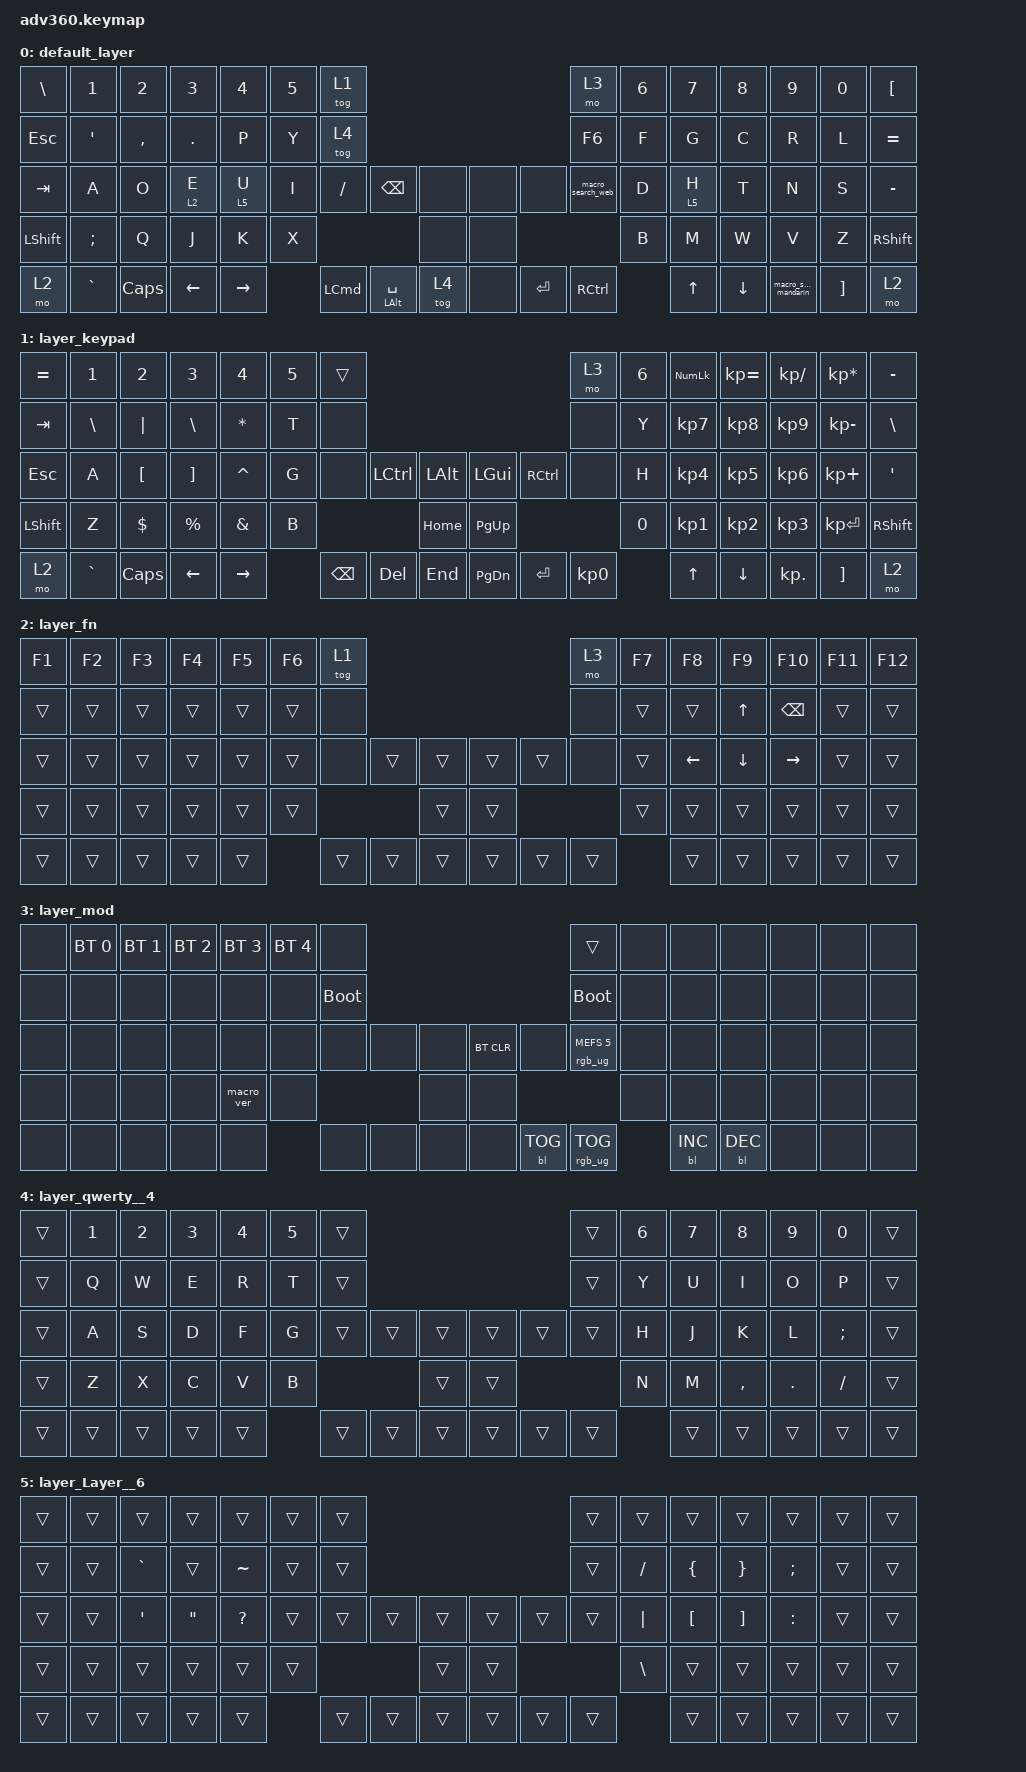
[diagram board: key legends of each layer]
/*
 * Copyright (c) 2020 The ZMK Contributors
 *
 * SPDX-License-Identifier: MIT
 */
/* THIS FILE WAS GENERATED!
 *
 * This file was generated automatically. You may or may not want to
 * edit it directly.
 */

#include <behaviors.dtsi>
#include <dt-bindings/zmk/backlight.h>
#include <dt-bindings/zmk/bt.h>
#include <dt-bindings/zmk/keys.h>
#include <dt-bindings/zmk/rgb.h>

/ {
    behaviors {
        #include "macros.dtsi"
    #include "version.dtsi"

        hm: homerow_mods {
            compatible = "zmk,behavior-hold-tap";
            label = "HOMEROW_MODS";
            #binding-cells = <2>;
            tapping-term-ms = <200>;
            quick_tap_ms = <175>;
            flavor = "tap-preferred";
            bindings = <&kp>, <&kp>;
        };
    };

    keymap {
        compatible = "zmk,keymap";

        default_layer {
            bindings = <
&kp BACKSLASH  &kp N1          &kp N2     &kp N3    &kp N4     &kp N5  &tog 1                                                              &mo 3              &kp N6  &kp N7   &kp N8    &kp N9                  &kp N0             &kp LEFT_BRACKET
&kp ESC        &kp APOSTROPHE  &kp COMMA  &kp DOT   &kp P      &kp Y   &tog 4                                                              &kp F6             &kp F   &kp G    &kp C     &kp R                   &kp L              &kp EQUAL
&kp TAB        &kp A           &kp O      &lt 2 E   &lt 5 U    &kp I   &kp SLASH         &kp BACKSPACE       &none       &none  &none      &macro_search_web  &kp D   &lt 5 H  &kp T     &kp N                   &kp S              &kp MINUS
&kp LSHFT      &kp SEMICOLON   &kp Q      &kp J     &kp K      &kp X                                         &none       &none                                &kp B   &kp M    &kp W     &kp V                   &kp Z              &kp RSHFT
&mo 2          &kp GRAVE       &kp CAPS   &kp LEFT  &kp RIGHT          &kp LEFT_COMMAND  &mt LEFT_ALT SPACE  &tog 4      &none  &kp ENTER  &kp RCTRL                  &kp UP   &kp DOWN  &macro_switch_mandarin  &kp RIGHT_BRACKET  &mo 2
            >;
        };

        layer_keypad {
            bindings = <
&kp EQUAL  &kp N1         &kp N2            &kp N3             &kp N4         &kp N5  &trans                                                   &mo 3      &kp N6  &kp KP_NUM  &kp KP_EQUAL  &kp KP_DIVIDE  &kp KP_MULTIPLY  &kp MINUS
&kp TAB    &kp BACKSLASH  &kp PIPE          &kp BACKSLASH      &kp STAR       &kp T   &none                                                    &none      &kp Y   &kp KP_N7   &kp KP_N8     &kp KP_N9      &kp KP_MINUS     &kp BSLH
&kp ESC    &kp A          &kp LEFT_BRACKET  &kp RIGHT_BRACKET  &kp CARET      &kp G   &none     &kp LCTRL  &kp LALT      &kp LGUI   &kp RCTRL  &none      &kp H   &kp KP_N4   &kp KP_N5     &kp KP_N6      &kp KP_PLUS      &kp SQT
&kp LSHFT  &kp Z          &kp DOLLAR        &kp PERCENT        &kp AMPERSAND  &kp B                        &kp HOME      &kp PG_UP                        &kp N0  &kp KP_N1   &kp KP_N2     &kp KP_N3      &kp KP_ENTER     &kp RSHFT
&mo 2      &kp GRAVE      &kp CAPS          &kp LEFT           &kp RIGHT              &kp BSPC  &kp DEL    &kp END       &kp PG_DN  &kp ENTER  &kp KP_N0          &kp UP      &kp DOWN      &kp KP_DOT     &kp RBKT         &mo 2
            >;
        };

        layer_fn {
            bindings = <
&kp F1  &kp F2  &kp F3  &kp F4  &kp F5  &kp F6  &tog 1                                      &mo 3   &kp F7  &kp F8    &kp F9        &kp F10        &kp F11  &kp F12
&trans  &trans  &trans  &trans  &trans  &trans  &none                                       &none   &trans  &trans    &kp UP_ARROW  &kp BACKSPACE  &trans   &trans
&trans  &trans  &trans  &trans  &trans  &trans  &none   &trans  &trans      &trans  &trans  &none   &trans  &kp LEFT  &kp DOWN      &kp RIGHT      &trans   &trans
&trans  &trans  &trans  &trans  &trans  &trans                  &trans      &trans                  &trans  &trans    &trans        &trans         &trans   &trans
&trans  &trans  &trans  &trans  &trans          &trans  &trans  &trans      &trans  &trans  &trans          &trans    &trans        &trans         &trans   &trans
            >;
        };

        layer_mod {
            bindings = <
&none  &bt BT_SEL 0  &bt BT_SEL 1  &bt BT_SEL 2  &bt BT_SEL 3  &bt BT_SEL 4  &none                                                  &trans                  &none  &none       &none       &none  &none  &none
&none  &none         &none         &none         &none         &none         &bootloader                                            &bootloader             &none  &none       &none       &none  &none  &none
&none  &none         &none         &none         &none         &none         &none        &none  &none      &bt BT_CLR  &none       &rgb_ug RGB_MEFS_CMD 5  &none  &none       &none       &none  &none  &none
&none  &none         &none         &none         &macro_ver    &none                             &none      &none                                           &none  &none       &none       &none  &none  &none
&none  &none         &none         &none         &none                       &none        &none  &none      &none       &bl BL_TOG  &rgb_ug RGB_TOG                &bl BL_INC  &bl BL_DEC  &none  &none  &none
            >;
        };

        layer_qwerty__4 {
            bindings = <
&trans  &kp N1  &kp N2  &kp N3  &kp N4  &kp N5  &trans                                      &trans  &kp N6  &kp N7  &kp N8     &kp N9   &kp N0     &trans
&trans  &kp Q   &kp W   &kp E   &kp R   &kp T   &trans                                      &trans  &kp Y   &kp U   &kp I      &kp O    &kp P      &trans
&trans  &kp A   &kp S   &kp D   &kp F   &kp G   &trans  &trans  &trans      &trans  &trans  &trans  &kp H   &kp J   &kp K      &kp L    &kp SEMI   &trans
&trans  &kp Z   &kp X   &kp C   &kp V   &kp B                   &trans      &trans                  &kp N   &kp M   &kp COMMA  &kp DOT  &kp SLASH  &trans
&trans  &trans  &trans  &trans  &trans          &trans  &trans  &trans      &trans  &trans  &trans          &trans  &trans     &trans   &trans     &trans
            >;
        };

        layer_Layer__6 {
            bindings = <
&trans  &trans  &trans            &trans             &trans        &trans  &trans                                      &trans  &trans         &trans            &trans             &trans         &trans  &trans
&trans  &trans  &kp GRAVE         &trans             &kp TILDE     &trans  &trans                                      &trans  &kp SLASH      &kp LEFT_BRACE    &kp RIGHT_BRACE    &kp SEMICOLON  &trans  &trans
&trans  &trans  &kp SINGLE_QUOTE  &kp DOUBLE_QUOTES  &kp QUESTION  &trans  &trans  &trans  &trans      &trans  &trans  &trans  &kp PIPE       &kp LEFT_BRACKET  &kp RIGHT_BRACKET  &kp COLON      &trans  &trans
&trans  &trans  &trans            &trans             &trans        &trans                  &trans      &trans                  &kp BACKSLASH  &trans            &trans             &trans         &trans  &trans
&trans  &trans  &trans            &trans             &trans                &trans  &trans  &trans      &trans  &trans  &trans                 &trans            &trans             &trans         &trans  &trans
            >;
        };
    };
};
